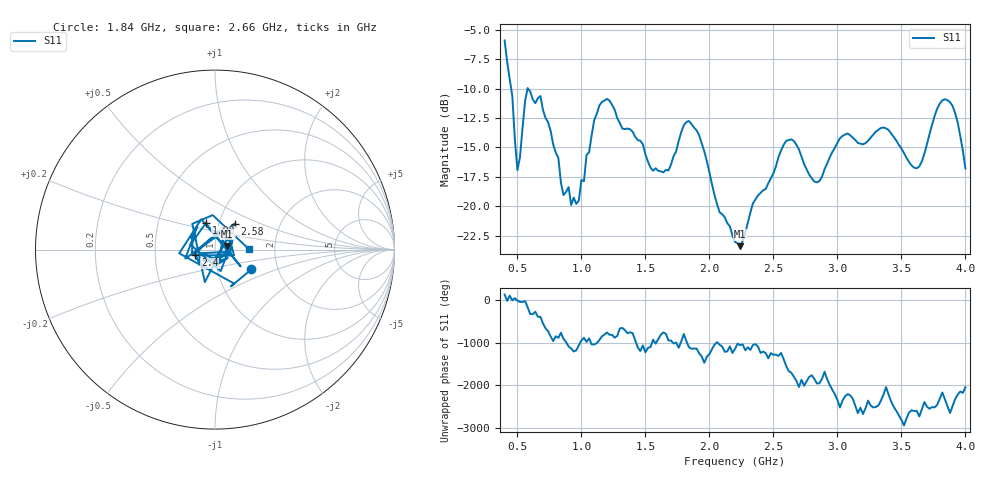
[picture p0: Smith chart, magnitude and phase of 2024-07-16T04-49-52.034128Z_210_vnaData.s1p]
!Created with skrf (http://scikit-rf.org).
# Hz S RI R 50.0
!freq ReS11 ImS11
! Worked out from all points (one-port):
!   181 points, 400 MHz to 4 GHz, reference 50 ohm
!   lowest |S11| = -23.4 dB at 2.24 GHz (marker M1), VSWR 1.15, Z = 56.9 + j2.31 ohm
!   |S11| at or under -10 dB: 451.3 MHz to 579.2 MHz (127.9 MHz wide, 24.8 % of centre); 583 MHz to end of sweep
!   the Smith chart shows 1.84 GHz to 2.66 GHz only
!   S11 on the Smith chart (normalised r, x): 1.84 GHz: 1.46, -0.34; 1.98 GHz: 0.87, +0.26; 2.4 GHz: 0.80, -0.05; 2.58 GHz: 1.19, +0.36; 2.66 GHz: 1.47, +0.01
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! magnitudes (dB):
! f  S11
! 400 MHz  -5.9
! 460 MHz  -10.6
! 500 MHz  -16.9
! 580 MHz  -10.0
! 680 MHz  -10.6
! 820 MHz  -15.9
! 860 MHz  -19.0
! 980 MHz  -19.5
! 1.16 GHz  -11.1
! 1.3 GHz  -12.9
! 1.56 GHz  -17.0
! 1.68 GHz  -17.0
! 1.76 GHz  -14.4
! 1.84 GHz  -12.7
! 1.98 GHz  -16.2
! 2.2 GHz  -23.0
! 2.24 GHz  -23.4
! 2.4 GHz  -18.9
! 2.58 GHz  -14.8
! 2.66 GHz  -14.5
! 2.84 GHz  -18.0
! 3.1 GHz  -14.0
! 3.38 GHz  -13.4
! 3.56 GHz  -16.2
! 3.64 GHz  -16.6
! 3.84 GHz  -10.9
! 3.92 GHz  -12.1
! 4 GHz  -16.8
